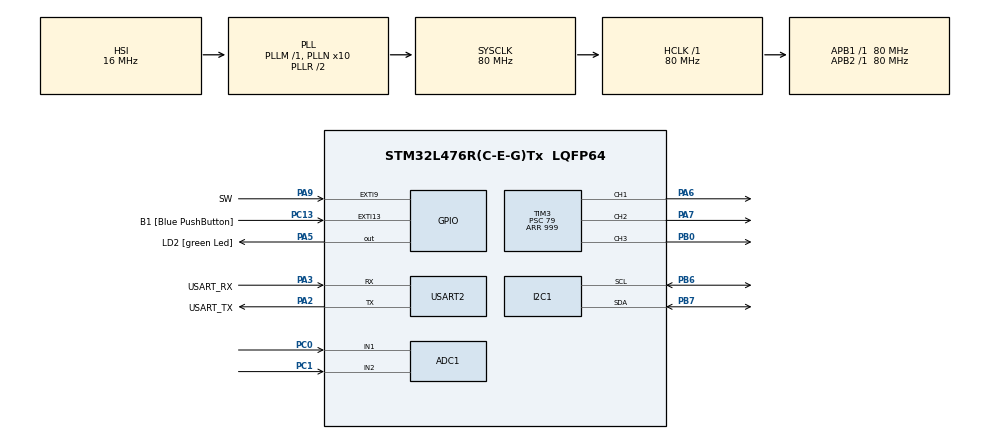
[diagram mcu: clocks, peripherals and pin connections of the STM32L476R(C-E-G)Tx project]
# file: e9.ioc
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ADC1.Channel-1\#ChannelRegularConversion=ADC_CHANNEL_1
ADC1.NbrOfConversion=1
ADC1.NbrOfConversionFlag=1
ADC1.OffsetNumber-1\#ChannelRegularConversion=ADC_OFFSET_NONE
ADC1.Rank-1\#ChannelRegularConversion=1
ADC1.SamplingTime-1\#ChannelRegularConversion=ADC_SAMPLETIME_2CYCLES_5
ADC1.master=1
I2C1.Timing=0x10D19CE4
Mcu.Family=STM32L4
Mcu.Name=STM32L476R(C-E-G)Tx
Mcu.Package=LQFP64
NVIC.EXTI9_5_IRQn=true\:0\:0\:false\:false\:true\:true\:true\:true
NVIC.PriorityGroup=NVIC_PRIORITYGROUP_4
PA13\ (JTMS-SWDIO).GPIO_Label=TMS
PA13\ (JTMS-SWDIO).Mode=Serial_Wire
PA13\ (JTMS-SWDIO).Signal=SYS_JTMS-SWDIO
PA14\ (JTCK-SWCLK).GPIO_Label=TCK
PA14\ (JTCK-SWCLK).Mode=Serial_Wire
PA14\ (JTCK-SWCLK).Signal=SYS_JTCK-SWCLK
PA2.GPIO_Label=USART_TX
PA2.GPIO_Mode=GPIO_MODE_AF_PP
PA2.GPIO_PuPd=GPIO_NOPULL
PA2.GPIO_Speed=GPIO_SPEED_FREQ_VERY_HIGH
PA2.Mode=Asynchronous
PA2.Signal=USART2_TX
PA3.GPIO_Label=USART_RX
PA3.GPIO_Mode=GPIO_MODE_AF_PP
PA3.GPIO_PuPd=GPIO_NOPULL
PA3.GPIO_Speed=GPIO_SPEED_FREQ_VERY_HIGH
PA3.Mode=Asynchronous
PA3.Signal=USART2_RX
PA5.GPIO_Label=LD2 [green Led]
PA5.GPIO_ModeDefaultOutputPP=GPIO_MODE_OUTPUT_PP
PA5.GPIO_PuPd=GPIO_NOPULL
PA5.GPIO_Speed=GPIO_SPEED_FREQ_LOW
PA5.Signal=GPIO_Output
PA6.Signal=S_TIM3_CH1
PA7.Signal=S_TIM3_CH2
PA9.GPIO_Label=SW
PA9.GPIO_ModeDefaultEXTI=GPIO_MODE_IT_FALLING
PA9.GPIO_PuPd=GPIO_PULLUP
PA9.Signal=GPXTI9
PB0.Signal=S_TIM3_CH3
PB3\ (JTDO-TRACESWO).GPIO_Label=SWO
PB3\ (JTDO-TRACESWO).Signal=SYS_JTDO-SWO
PB6.Mode=I2C
PB6.Signal=I2C1_SCL
PB7.Mode=I2C
PB7.Signal=I2C1_SDA
PC0.Signal=ADCx_IN1
PC1.Signal=ADCx_IN2
PC13.GPIO_Label=B1 [Blue PushButton]
PC13.GPIO_ModeDefaultEXTI=GPIO_MODE_IT_FALLING
PC13.GPIO_PuPd=GPIO_NOPULL
PC13.Signal=GPXTI13
PC14-OSC32_IN\ (PC14).Mode=LSE-External-Oscillator
PC14-OSC32_IN\ (PC14).Signal=RCC_OSC32_IN
PC15-OSC32_OUT\ (PC15).Mode=LSE-External-Oscillator
PC15-OSC32_OUT\ (PC15).Signal=RCC_OSC32_OUT
PH0-OSC_IN\ (PH0).Signal=RCC_OSC_IN
PH1-OSC_OUT\ (PH1).Signal=RCC_OSC_OUT
ProjectManager.HeapSize=0x200
ProjectManager.StackSize=0x400
ProjectManager.TargetToolchain=STM32CubeIDE
RCC.ADCFreq_Value=64000000
RCC.AHBFreq_Value=80000000
RCC.APB1Freq_Value=80000000
RCC.APB1TimFreq_Value=80000000
RCC.APB2Freq_Value=80000000
RCC.APB2TimFreq_Value=80000000
RCC.CortexFreq_Value=80000000
RCC.HCLKFreq_Value=80000000
RCC.HSE_VALUE=8000000
RCC.HSI_VALUE=16000000
RCC.MSI_VALUE=4000000
RCC.PLLN=10
RCC.PLLSAI1Q=RCC_PLLQ_DIV4
RCC.PLLSourceVirtual=RCC_PLLSOURCE_HSI
RCC.PREFETCH_ENABLE=1
RCC.SYSCLKFreq_VALUE=80000000
RCC.SYSCLKSource=RCC_SYSCLKSOURCE_PLLCLK
RCC.USBFreq_Value=32000000
RCC.VCOOutputFreq_Value=160000000
SH.ADCx_IN1.0=ADC1_IN1,IN1-Single-Ended
SH.ADCx_IN2.0=ADC1_IN2,IN2-Single-Ended
SH.S_TIM3_CH1.0=TIM3_CH1,PWM Generation1 CH1
SH.S_TIM3_CH2.0=TIM3_CH2,PWM Generation2 CH2
SH.S_TIM3_CH3.0=TIM3_CH3,PWM Generation3 CH3
TIM16.Period=9999
TIM16.Prescaler=79
TIM3.AutoReloadPreload=TIM_AUTORELOAD_PRELOAD_ENABLE
TIM3.Channel-PWM\ Generation1\ CH1=TIM_CHANNEL_1
TIM3.Channel-PWM\ Generation2\ CH2=TIM_CHANNEL_2
TIM3.Channel-PWM\ Generation3\ CH3=TIM_CHANNEL_3
TIM3.Period=999
TIM3.Prescaler=79
USART2.VirtualMode-Asynchronous=VM_ASYNC
VP_RNG_VS_RNG.Mode=RNG_Activate
VP_TIM16_VS_ClockSourceINT.Mode=Enable_Timer
VP_TIM3_VS_ClockSourceINT.Mode=Internal
board=NUCLEO-L476RG

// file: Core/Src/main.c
/* USER CODE BEGIN Header */
/**
  ******************************************************************************
  * @file           : main.c
  * @brief          : Main program body
  ******************************************************************************
  * @attention
  *
  * Copyright (c) 2026 STMicroelectronics.
  * All rights reserved.
  *
  * This software is licensed under terms that can be found in the LICENSE file
  * in the root directory of this software component.
  * If no LICENSE file comes with this software, it is provided AS-IS.
  *
  ******************************************************************************
  */
/* USER CODE END Header */
#include "main.h"
#include "adc.h"
#include "i2c.h"
#include "rng.h"
#include "tim.h"
#include "usart.h"
#include "gpio.h"

/* USER CODE BEGIN Includes */
#include <stdbool.h>
#include "ssd1306.h"
#include "ssd1306_fonts.h"
#include "joystick.h"
#include "dioda_RGB.h"
#include "oled.h"
#include "ui.h"
#include "snake.h"
/* USER CODE END Includes */

/* USER CODE BEGIN PD */
//joystick_raw_t joy;

volatile ui_menu_page current_menu_page;
static ui_state_t ui_state = UI_NONE;

uint8_t click_show_cnt = 0;

uint32_t now;

joystick_raw_t joy_raw;

joystick_center_t joy_center = {
    .x = 1971,
    .y = 3020
};

joystick_axis_value axis_value_x;
joystick_axis_value axis_value_y;

static joy_event last_evt = JOY_EVT_NONE;
static uint32_t last_repeat = 0;

ui_color_state_t ui_color =
{
    .selected = UI_RED,
    .r = 0,
    .g = 0,
    .b = 0
};

snake_head_position_t head_position;
uint8_t actual_snake_game_state = 0;

//uint8_t dz_x, dz_y;
//extern joystick_raw_t joy;

/* USER CODE END PD */

void SystemClock_Config(void);
void PeriphCommonClock_Config(void);

int main(void)
{

  /* MCU Configuration--------------------------------------------------------*/

  /* Reset of all peripherals, Initializes the Flash interface and the Systick. */
  HAL_Init();

  /* Configure the system clock */
  SystemClock_Config();

  /* Configure the peripherals common clocks */
  PeriphCommonClock_Config();

  /* Initialize all configured peripherals */
  MX_GPIO_Init();
  MX_TIM3_Init();
  MX_USART2_UART_Init();
  MX_TIM16_Init();
  MX_ADC1_Init();
  MX_I2C1_Init();
  MX_RNG_Init();
  /* USER CODE BEGIN 2 */
  HAL_TIM_PWM_Start(&htim3, TIM_CHANNEL_1);
  HAL_TIM_PWM_Start(&htim3, TIM_CHANNEL_2);
  HAL_TIM_PWM_Start(&htim3, TIM_CHANNEL_3);

  __HAL_TIM_SET_COMPARE(&htim3, TIM_CHANNEL_1, 000);
  __HAL_TIM_SET_COMPARE(&htim3, TIM_CHANNEL_2, 000);
  __HAL_TIM_SET_COMPARE(&htim3, TIM_CHANNEL_3, 000);

  ssd1306_Init();
  ssd1306_Fill(Black);
  ssd1306_SetCursor(0, 0);
  ssd1306_WriteString("Hello STM32", Font_6x8, White);
  ssd1306_UpdateScreen();

  MX_RNG_Init();
  /* USER CODE END 2 */

  /* Infinite loop */
  /* USER CODE BEGIN WHILE */
  while (1)
  {

	  /*---Joy reading---*/
	  joystick_read_raw(&joy_raw);

	  joystick_apply_deadzone(
	      joy_raw.x, joy_center.x,
	      &axis_value_x.axis_val,
	      &axis_value_x.center_position);

	  joystick_apply_deadzone(
	      joy_raw.y, joy_center.y,
	      &axis_value_y.axis_val,
	      &axis_value_y.center_position);

	  joy_event evt = joystick_get_event(
	      axis_value_x.axis_val,
	      axis_value_x.center_position,
	      axis_value_y.axis_val,
	      axis_value_y.center_position);
	  /*---end---*/

	  now = HAL_GetTick();

	  //RGB handle
	  ui_rgb_process_joystick(&ui_color, evt, now, current_menu_page);
	  rgb_apply_ui_color(&ui_color,current_menu_page);

	  //snake handle
	  snake_game_state(&head_position, evt, current_menu_page, &actual_snake_game_state);

	  /*---UI handle---*/
	  static uint32_t last_oled = 0;
	  if (HAL_GetTick() - last_oled >= 50)   // 20 FPS
	  {
	      last_oled = HAL_GetTick();

	      oled_clear();
	      chose_screen(current_menu_page, evt);
	      snake_game_state(&head_position, evt, current_menu_page, &actual_snake_game_state);
	      ssd1306_UpdateScreen();
	  }

    /* USER CODE END WHILE */

  }
}

void SystemClock_Config(void)
{
  RCC_OscInitTypeDef RCC_OscInitStruct = {0};
  RCC_ClkInitTypeDef RCC_ClkInitStruct = {0};

  /** Configure the main internal regulator output voltage
  */
  if (HAL_PWREx_ControlVoltageScaling(PWR_REGULATOR_VOLTAGE_SCALE1) != HAL_OK)
  {
    Error_Handler();
  }

  /** Initializes the RCC Oscillators according to the specified parameters
  * in the RCC_OscInitTypeDef structure.
  */
  RCC_OscInitStruct.OscillatorType = RCC_OSCILLATORTYPE_HSI;
  RCC_OscInitStruct.HSIState = RCC_HSI_ON;
  RCC_OscInitStruct.HSICalibrationValue = RCC_HSICALIBRATION_DEFAULT;
  RCC_OscInitStruct.PLL.PLLState = RCC_PLL_ON;
  RCC_OscInitStruct.PLL.PLLSource = RCC_PLLSOURCE_HSI;
  RCC_OscInitStruct.PLL.PLLM = 1;
  RCC_OscInitStruct.PLL.PLLN = 10;
  RCC_OscInitStruct.PLL.PLLP = RCC_PLLP_DIV7;
  RCC_OscInitStruct.PLL.PLLQ = RCC_PLLQ_DIV2;
  RCC_OscInitStruct.PLL.PLLR = RCC_PLLR_DIV2;
  if (HAL_RCC_OscConfig(&RCC_OscInitStruct) != HAL_OK)
  {
    Error_Handler();
  }

  /** Initializes the CPU, AHB and APB buses clocks
  */
  RCC_ClkInitStruct.ClockType = RCC_CLOCKTYPE_HCLK|RCC_CLOCKTYPE_SYSCLK
                              |RCC_CLOCKTYPE_PCLK1|RCC_CLOCKTYPE_PCLK2;
  RCC_ClkInitStruct.SYSCLKSource = RCC_SYSCLKSOURCE_PLLCLK;
  RCC_ClkInitStruct.AHBCLKDivider = RCC_SYSCLK_DIV1;
  RCC_ClkInitStruct.APB1CLKDivider = RCC_HCLK_DIV1;
  RCC_ClkInitStruct.APB2CLKDivider = RCC_HCLK_DIV1;

  if (HAL_RCC_ClockConfig(&RCC_ClkInitStruct, FLASH_LATENCY_4) != HAL_OK)
  {
    Error_Handler();
  }
}

void PeriphCommonClock_Config(void)
{
  RCC_PeriphCLKInitTypeDef PeriphClkInit = {0};

  /** Initializes the peripherals clock
  */
  PeriphClkInit.PeriphClockSelection = RCC_PERIPHCLK_RNG|RCC_PERIPHCLK_ADC;
  PeriphClkInit.AdcClockSelection = RCC_ADCCLKSOURCE_PLLSAI1;
  PeriphClkInit.RngClockSelection = RCC_RNGCLKSOURCE_PLLSAI1;
  PeriphClkInit.PLLSAI1.PLLSAI1Source = RCC_PLLSOURCE_HSI;
  PeriphClkInit.PLLSAI1.PLLSAI1M = 1;
  PeriphClkInit.PLLSAI1.PLLSAI1N = 8;
  PeriphClkInit.PLLSAI1.PLLSAI1P = RCC_PLLP_DIV7;
  PeriphClkInit.PLLSAI1.PLLSAI1Q = RCC_PLLQ_DIV4;
  PeriphClkInit.PLLSAI1.PLLSAI1R = RCC_PLLR_DIV2;
  PeriphClkInit.PLLSAI1.PLLSAI1ClockOut = RCC_PLLSAI1_48M2CLK|RCC_PLLSAI1_ADC1CLK;
  if (HAL_RCCEx_PeriphCLKConfig(&PeriphClkInit) != HAL_OK)
  {
    Error_Handler();
  }
}

/* USER CODE BEGIN 4 */
void HAL_GPIO_EXTI_Callback(uint16_t GPIO_Pin)
{
	static uint32_t last_time = 0;

	if (HAL_GetTick() - last_time > 200)
	{
	    // prawdziwe naciśnięcie

	if (GPIO_Pin == GPIO_PIN_9)
			{
			current_page(&current_menu_page);
			actual_snake_game_state = GAME_WAIT_START;
			}
    last_time = HAL_GetTick();
	}
}
/* USER CODE END 4 */

void Error_Handler(void)
{
  __disable_irq();
  while (1)
  {
  }
}
